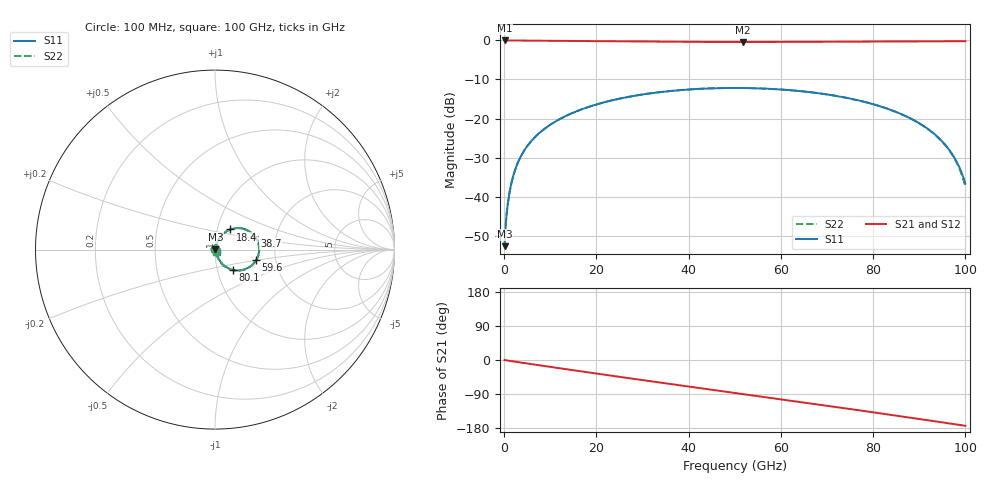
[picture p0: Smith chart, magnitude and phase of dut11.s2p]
! Touchstone file exported from HFSS 2026.1.0
!  File:  C:/ffzhzh/LocalFiles/Ansys_Project_Files/temp_train_RDL_11_1783497670_31944.aedt
!  Generated:  04:02:22 PM Jul  8, 2026
!  Design:  RDL
!  Project:  temp_train_RDL_11_1783497670_31944
! Variables:
!  h_bsmrdl = 2um
!  h_ox = 20um
!  h_rdl = 5um
!  h_sub = 80um
!  h_tmrdl = 4.3um
!  h_tsv = 80um
!  h_via = 3um
!  l_bsmrdl = 300um
!  l_sub = 999.83um
!  l_tmrdl = 599.83um
!  m_sub = 200um
!  pitch = 41.31um
!  r_tsv = 6um
!  s_tmrdl = 10um
!  w_bsmrdl = 18um
!  w_sub = 500um
!  w_tmrdl = 29.71um
!  x_tsv_center1 = 614.685um
!  x_tsv_center2 = 932.685um
!  x_tsv_center3 = 1562.225um
!  x_tsv_center4 = 1880.225um
!  x_tsv_center5 = 2509.765um
!  x_tsv_center6 = 2827.765um
# GHz S MA R 50.000000
! Terminal data exported
! Port[1] = TM_RDL1_1_T1
! Port[2] = TM_RDL1_1_T2
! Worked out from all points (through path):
!   1000 points, 100 MHz to 100 GHz, reference 50 ohm
!   highest |S21| = -0.02 dB at 100 MHz (marker M1); lowest = -0.4 dB at 51.8 GHz (marker M2)
!   group delay of S21, straight-line fit = 4.77 ps
!   lowest |S11| = -52.7 dB at 100 MHz (marker M3), VSWR 1.00, Z = 50.2 + j0.127 ohm
!   |S11| at or under -10 dB: start of sweep to end of sweep
!   |S22| runs from -52.7 to -12.2 dB; largest |S21 - S12| = 1.8e-14
!   S11 on the Smith chart (normalised r, x): 100 MHz: 1.00, +0.00; 18.4 GHz: 1.15, +0.27; 38.7 GHz: 1.54, +0.25; 59.6 GHz: 1.58, -0.20; 80.1 GHz: 1.19, -0.28; 100 GHz: 1.02, -0.02
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0.1  0.00233 32.9  0.998 -0.2  0.998 -0.2  0.00233 32.9
! Gamma 0 0 0 0
! Port Impedance 50 0 50 0
0.9  0.009021 70.0  0.9971 -1.7  0.9971 -1.7  0.009021 70.0
1.6  0.01517 75.0  0.9967 -3.0  0.9967 -3.0  0.01517 75.0
2.7  0.02486 76.2  0.9959 -5.0  0.9959 -5.0  0.02486 76.2
4.2  0.03769 74.8  0.9944 -7.8  0.9944 -7.8  0.03769 74.8
6.3  0.05484 71.9  0.9922 -11.6  0.9922 -11.6  0.05484 71.8
9.1  0.07658 67.6  0.9892 -16.6  0.9892 -16.6  0.07658 67.6
16.8  0.1312 55.3  0.9807 -30.2  0.9807 -30.2  0.1312 55.2
18.4  0.1415 52.7  0.9789 -33.0  0.9789 -33.0  0.1415 52.6
25.3  0.1812 41.4  0.9709 -45.0  0.9709 -45.0  0.1812 41.3
33.4  0.2165 28.1  0.9625 -58.9  0.9625 -58.9  0.2165 27.9
38.7  0.2324 19.4  0.9582 -67.8  0.9582 -67.8  0.2324 19.2
50.1  0.2463 0.8  0.9536 -87.0  0.9536 -87.0  0.2462 0.6
51.8  0.2459 -1.9  0.9536 -89.9  0.9536 -89.9  0.2459 -2.2
59.6  0.2362 -14.6  0.9551 -103.0  0.9551 -103.0  0.2362 -15.0
66.7  0.2162 -26.2  0.9588 -115.0  0.9588 -115.0  0.2162 -26.7
80.1  0.1521 -48.1  0.9686 -138.2  0.9686 -138.2  0.1519 -48.9
83.4  0.1317 -53.3  0.9709 -144.0  0.9709 -144.0  0.1316 -54.3
89.6  0.08989 -62.6  0.9743 -155.0  0.9743 -155.0  0.08964 -64.2
94.3  0.05595 -67.9  0.9758 -163.4  0.9758 -163.4  0.05558 -70.6
97.5  0.03242 -67.9  0.9762 -169.1  0.9762 -169.1  0.03182 -72.5
100  0.01476 -55.2  0.9761 -173.6  0.9761 -173.6  0.01351 -64.8
